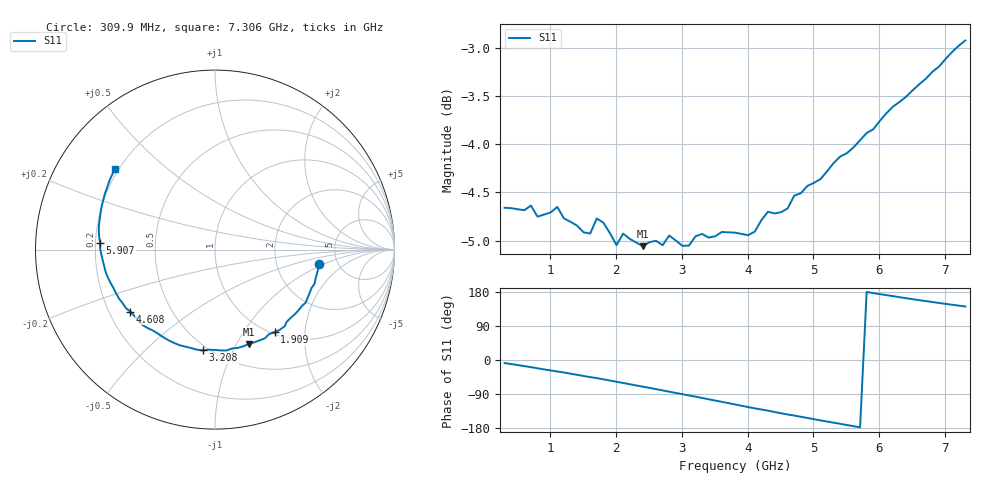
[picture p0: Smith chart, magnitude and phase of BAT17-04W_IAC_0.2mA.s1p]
! Infineon Technologies  Discrete & RF Semiconductors
! BAT17-04W
! IAC = 0.2 mA
! One-Port S-Parameters
# Hz  S  MA  R  50
!f  S11
!Hz  Mag  Ang
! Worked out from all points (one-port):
!   71 points, 309.9 MHz to 7.306 GHz, reference 50 ohm
!   lowest |S11| = -5.1 dB at 2.409 GHz (marker M1), VSWR 3.53, Z = 36.7 - j56.1 ohm
!   |S11| at or under -10 dB: nowhere
!   S11 on the Smith chart (normalised r, x): 309.9 MHz: 3.57, -0.90; 1.909 GHz: 1.03, -1.40; 3.208 GHz: 0.47, -0.77; 4.608 GHz: 0.29, -0.30; 5.907 GHz: 0.22, +0.03; 7.306 GHz: 0.19, +0.34
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3.0985e8  0.5848 -8.1
7.0965e8  0.5864 -18.9
8.096e8  0.5786 -21.8
1.10945e9  0.5854 -30.3
1.2094e9  0.5775 -32.9
1.6092e9  0.567 -45.2
1.70915e9  0.5774 -47.7
1.90905e9  0.5673 -54.2
2.009e9  0.5593 -57.5
2.10895e9  0.567 -60.7
2.4088e9  0.5585 -70.4
2.8086e9  0.5657 -83.5
3.0085e9  0.5588 -90.1
3.2084e9  0.5652 -96.7
3.6082e9  0.5681 -110.3
3.8081e9  0.5677 -117.2
4.10795e9  0.5683 -127.6
4.30785e9  0.582 -133.6
4.6077e9  0.5844 -143.8
4.70765e9  0.5934 -146.5
5.0075e9  0.6025 -156.2
5.30735e9  0.6171 -165.4
5.6072e9  0.6286 -174.7
5.90705e9  0.6424 176.5
6.2069e9  0.66 168.5
6.50675e9  0.6732 160.5
7.0065e9  0.6989 148.1
7.30635e9  0.7144 141.1
